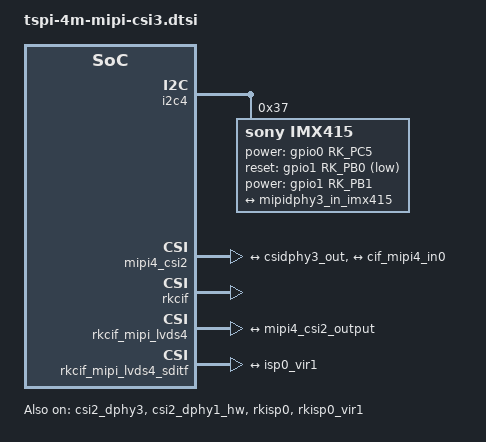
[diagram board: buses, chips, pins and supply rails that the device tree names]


&i2c4 {
    status = "okay";
    pinctrl-0 = <&i2c4m3_xfer>;
	imx415@37 {
		compatible = "sony,imx415";
		status = "okay";
		reg = <0x37>;
		clocks = <&cru CLK_MIPI_CAMARAOUT_M4>;
		clock-names = "xvclk";
		pinctrl-names = "default";
		pinctrl-0 = <&mipim0_camera4_clk>;
		power-domains = <&power RK3588_PD_VI>;

		rockchip,power-gpios = <&gpio0 RK_PC5 GPIO_ACTIVE_HIGH>;
		reset-gpios = <&gpio1 RK_PB0 GPIO_ACTIVE_LOW>;
		power-gpios = <&gpio1 RK_PB1 GPIO_ACTIVE_HIGH>;


		rockchip,camera-module-index = <1>;
		//rockchip,camera-module-facing = "back";
		rockchip,camera-module-facing = "front";
		rockchip,camera-module-name = "CMK-OT2022-PX1";
		rockchip,camera-module-lens-name = "IR0147-50IRC-8M-F20";
		port {
			imx415_out4: endpoint {
				remote-endpoint = <&mipidphy3_in_imx415>;
				data-lanes = <1 2 3 4>;
			};
		};
	};

	
};

&csi2_dphy3 {
	status = "okay";

	ports {
		#address-cells = <1>;
		#size-cells = <0>;
		port@0 {
			reg = <0>;
			#address-cells = <1>;
			#size-cells = <0>;

			mipidphy3_in_imx415: endpoint@1 {
				reg = <1>;
				remote-endpoint = <&imx415_out4>;
				data-lanes = <1 2 3 4>;
			};
			
		};
		port@1 {
			reg = <1>;
			#address-cells = <1>;
			#size-cells = <0>;

			csidphy3_out: endpoint@0 {
				reg = <0>;
				remote-endpoint = <&mipi4_csi2_input>;
			};
		};
	};
};

&csi2_dphy1_hw {
	status = "okay";
};

&mipi4_csi2 {
	status = "okay";

	ports {
		#address-cells = <1>;
		#size-cells = <0>;

		port@0 {
			reg = <0>;
			#address-cells = <1>;
			#size-cells = <0>;

			mipi4_csi2_input: endpoint@1 {
				reg = <1>;
				remote-endpoint = <&csidphy3_out>;
			};
		};

		port@1 {
			reg = <1>;
			#address-cells = <1>;
			#size-cells = <0>;

			mipi4_csi2_output: endpoint@0 {
				reg = <0>;
				remote-endpoint = <&cif_mipi4_in0>;
			};
		};
	};
};


&rkcif {
	status = "okay";
};

&rkcif_mipi_lvds4 {
	status = "okay";

	port {
		cif_mipi4_in0: endpoint {
			remote-endpoint = <&mipi4_csi2_output>;
		};
	};
};

&rkcif_mipi_lvds4_sditf {
	status = "okay";

	port {
		mipi_lvds4_sditf: endpoint {
			remote-endpoint = <&isp0_vir1>;
		};
	};
};

&rkcif_mmu {
	status = "okay";
};

&rkisp0 {
	status = "okay";
};

&isp0_mmu {
	status = "okay";
};

&rkisp0_vir1 {
	status = "okay";

	port {
		#address-cells = <1>;
		#size-cells = <0>;

		isp0_vir1: endpoint@0 {
			reg = <0>;
			remote-endpoint = <&mipi_lvds4_sditf>;
		};
	};
};
